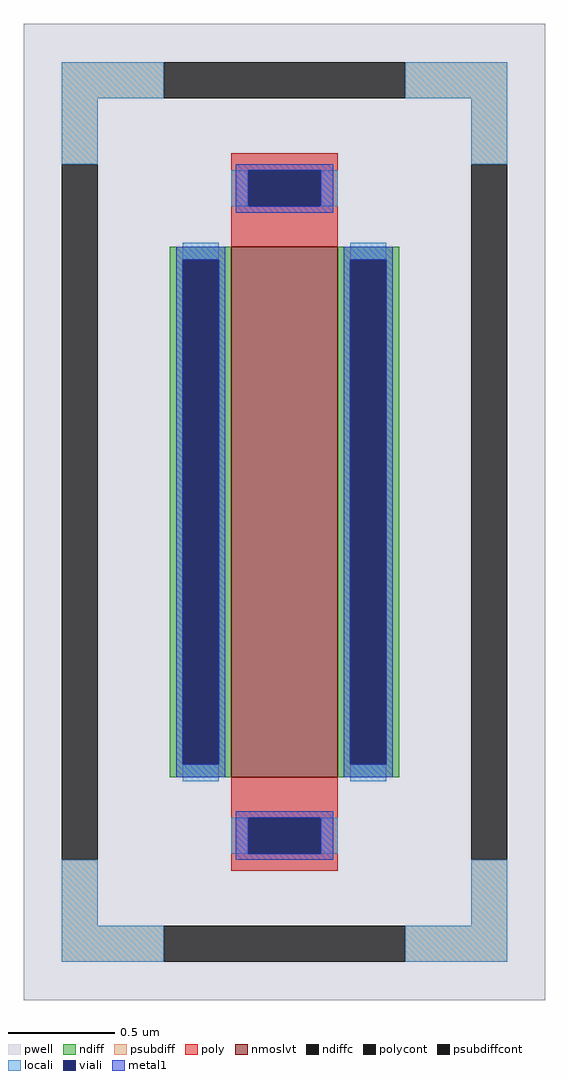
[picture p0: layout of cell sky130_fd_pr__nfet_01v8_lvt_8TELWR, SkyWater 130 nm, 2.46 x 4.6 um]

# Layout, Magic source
magic
tech sky130A
<< pwell >>
rect -123 -230 123 230
<< nmoslvt >>
rect -25 -125 25 125
<< ndiff >>
rect -54 119 -25 125
rect -54 -119 -48 119
rect -31 -119 -25 119
rect -54 -125 -25 -119
rect 25 119 54 125
rect 25 -119 31 119
rect 48 -119 54 119
rect 25 -125 54 -119
<< ndiffc >>
rect -48 -119 -31 119
rect 31 -119 48 119
<< psubdiff >>
rect -105 195 -57 212
rect 57 195 105 212
rect -105 164 -88 195
rect 88 164 105 195
rect -105 -195 -88 -164
rect 88 -195 105 -164
rect -105 -212 -57 -195
rect 57 -212 105 -195
<< psubdiffcont >>
rect -57 195 57 212
rect -105 -164 -88 164
rect 88 -164 105 164
rect -57 -212 57 -195
<< poly >>
rect -25 161 25 169
rect -25 144 -17 161
rect 17 144 25 161
rect -25 125 25 144
rect -25 -144 25 -125
rect -25 -161 -17 -144
rect 17 -161 25 -144
rect -25 -169 25 -161
<< polycont >>
rect -17 144 17 161
rect -17 -161 17 -144
<< locali >>
rect -105 195 -57 212
rect 57 195 105 212
rect -105 164 -88 195
rect 88 164 105 195
rect -25 144 -17 161
rect 17 144 25 161
rect -48 119 -31 127
rect -48 -127 -31 -119
rect 31 119 48 127
rect 31 -127 48 -119
rect -25 -161 -17 -144
rect 17 -161 25 -144
rect -105 -195 -88 -164
rect 88 -195 105 -164
rect -105 -212 -57 -195
rect 57 -212 105 -195
<< viali >>
rect -17 144 17 161
rect -48 -119 -31 119
rect 31 -119 48 119
rect -17 -161 17 -144
<< metal1 >>
rect -23 161 23 164
rect -23 144 -17 161
rect 17 144 23 161
rect -23 141 23 144
rect -51 119 -28 125
rect -51 -119 -48 119
rect -31 -119 -28 119
rect -51 -125 -28 -119
rect 28 119 51 125
rect 28 -119 31 119
rect 48 -119 51 119
rect 28 -125 51 -119
rect -23 -144 23 -141
rect -23 -161 -17 -144
rect 17 -161 23 -144
rect -23 -164 23 -161
<< properties >>
string FIXED_BBOX -96 -203 96 203
string gencell sky130_fd_pr__nfet_01v8_lvt
string library sky130
string parameters w 2.5 l 0.5 m 1 nf 1 diffcov 100 polycov 100 guard 1 glc 1 grc 1 gtc 1 gbc 1 tbcov 100 rlcov 100 topc 1 botc 1 poverlap 0 doverlap 1 lmin 0.15 wmin 0.42 compatible {sky130_fd_pr__nfet_01v8 sky130_fd_pr__nfet_01v8_lvt  sky130_fd_bs_flash__special_sonosfet_star  sky130_fd_pr__nfet_g5v0d10v5 sky130_fd_pr__nfet_05v0_nvt  sky130_fd_pr__nfet_03v3_nvt} full_metal 1 viasrc 100 viadrn 100 viagate 100 viagb 0 viagr 0 viagl 0 viagt 0
<< end >>
